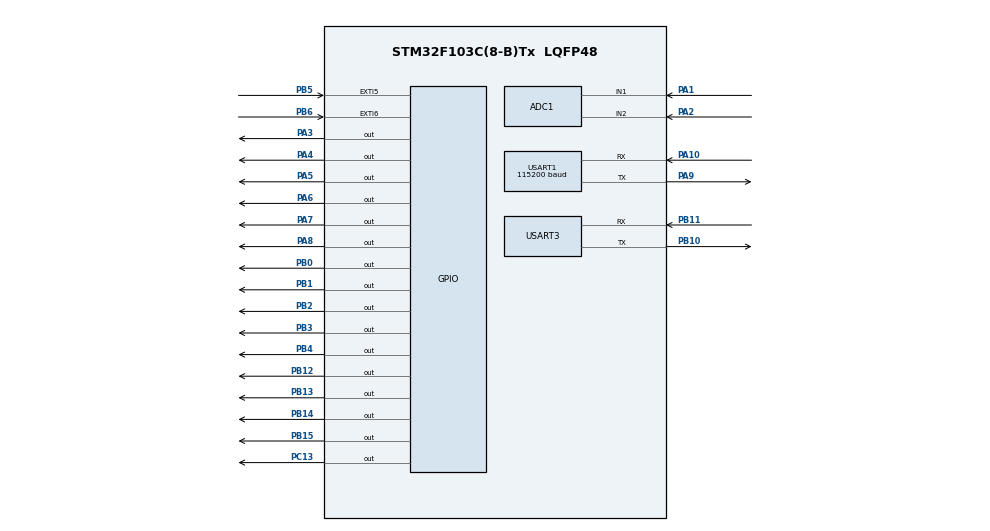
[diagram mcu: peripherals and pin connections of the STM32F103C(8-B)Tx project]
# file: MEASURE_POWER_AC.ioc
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ADC1.Channel-0\#ChannelRegularConversion=ADC_CHANNEL_1
ADC1.Channel-1\#ChannelRegularConversion=ADC_CHANNEL_2
ADC1.ExternalTrigConv=ADC_EXTERNALTRIGCONV_T3_TRGO
ADC1.NbrOfConversion=2
ADC1.NbrOfConversionFlag=1
ADC1.Rank-0\#ChannelRegularConversion=1
ADC1.Rank-1\#ChannelRegularConversion=2
ADC1.SamplingTime-0\#ChannelRegularConversion=ADC_SAMPLETIME_239CYCLES_5
ADC1.SamplingTime-1\#ChannelRegularConversion=ADC_SAMPLETIME_239CYCLES_5
ADC1.master=1
Dma.ADC1.0.Direction=DMA_PERIPH_TO_MEMORY
Dma.ADC1.0.Instance=DMA1_Channel1
Dma.ADC1.0.MemDataAlignment=DMA_MDATAALIGN_HALFWORD
Dma.ADC1.0.MemInc=DMA_MINC_ENABLE
Dma.ADC1.0.Mode=DMA_CIRCULAR
Dma.ADC1.0.PeriphDataAlignment=DMA_PDATAALIGN_HALFWORD
Dma.ADC1.0.PeriphInc=DMA_PINC_DISABLE
Dma.ADC1.0.Priority=DMA_PRIORITY_LOW
Dma.Request0=ADC1
Mcu.Family=STM32F1
Mcu.Name=STM32F103C(8-B)Tx
Mcu.Package=LQFP48
NVIC.DMA1_Channel1_IRQn=true\:1\:0\:true\:false\:true\:false\:true\:true
NVIC.EXTI9_5_IRQn=true\:2\:0\:true\:false\:true\:true\:true\:true
NVIC.PriorityGroup=NVIC_PRIORITYGROUP_4
NVIC.USART1_IRQn=true\:3\:0\:true\:false\:true\:true\:true\:true
NVIC.USART3_IRQn=true\:4\:0\:true\:false\:true\:true\:true\:true
PA1.Signal=ADCx_IN1
PA10.Mode=Asynchronous
PA10.Signal=USART1_RX
PA13.Mode=Serial_Wire
PA13.Signal=SYS_JTMS-SWDIO
PA14.Mode=Serial_Wire
PA14.Signal=SYS_JTCK-SWCLK
PA2.Signal=ADCx_IN2
PA3.Signal=GPIO_Output
PA4.Signal=GPIO_Output
PA5.Signal=GPIO_Output
PA6.Signal=GPIO_Output
PA7.Signal=GPIO_Output
PA8.Signal=GPIO_Output
PA9.Mode=Asynchronous
PA9.Signal=USART1_TX
PB0.Signal=GPIO_Output
PB1.Signal=GPIO_Output
PB10.Mode=Asynchronous
PB10.Signal=USART3_TX
PB11.Mode=Asynchronous
PB11.Signal=USART3_RX
PB12.Signal=GPIO_Output
PB13.Signal=GPIO_Output
PB14.Signal=GPIO_Output
PB15.Signal=GPIO_Output
PB2.Signal=GPIO_Output
PB3.Signal=GPIO_Output
PB4.Signal=GPIO_Output
PB5.GPIO_ModeDefaultEXTI=GPIO_MODE_IT_RISING
PB5.GPIO_PuPd=GPIO_PULLUP
PB5.Signal=GPXTI5
PB6.GPIO_ModeDefaultEXTI=GPIO_MODE_IT_RISING
PB6.GPIO_PuPd=GPIO_PULLUP
PB6.Signal=GPXTI6
PC13-TAMPER-RTC.Signal=GPIO_Output
PD0-OSC_IN.Mode=HSE-External-Oscillator
PD0-OSC_IN.Signal=RCC_OSC_IN
PD1-OSC_OUT.Mode=HSE-External-Oscillator
PD1-OSC_OUT.Signal=RCC_OSC_OUT
ProjectManager.HeapSize=0x200
ProjectManager.StackSize=0x400
ProjectManager.TargetToolchain=STM32CubeIDE
RCC.ADCPresc=RCC_ADCPCLK2_DIV4
RCC.AHBFreq_Value=56000000
RCC.APB1CLKDivider=RCC_HCLK_DIV2
RCC.APB1Freq_Value=28000000
RCC.APB1TimFreq_Value=56000000
RCC.APB2Freq_Value=56000000
RCC.APB2TimFreq_Value=56000000
RCC.HCLKFreq_Value=56000000
RCC.PLLMUL=RCC_PLL_MUL7
RCC.PLLSourceVirtual=RCC_PLLSOURCE_HSE
RCC.SYSCLKFreq_VALUE=56000000
RCC.SYSCLKSource=RCC_SYSCLKSOURCE_PLLCLK
RCC.USBFreq_Value=56000000
SH.ADCx_IN1.0=ADC1_IN1,IN1
SH.ADCx_IN2.0=ADC1_IN2,IN2
TIM2.Prescaler=8
TIM3.Period=19
TIM3.Prescaler=55999
TIM3.TIM_MasterOutputTrigger=TIM_TRGO_UPDATE
USART1.BaudRate=115200
USART1.VirtualMode=VM_ASYNC
USART3.VirtualMode=VM_ASYNC
VP_TIM2_VS_ClockSourceINT.Mode=Internal
VP_TIM3_VS_ClockSourceINT.Mode=Internal
board=custom

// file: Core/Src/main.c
/* USER CODE BEGIN Header */
/**
  ******************************************************************************
  * @file           : main.c
  * @brief          : Main program body
  ******************************************************************************
  * @attention
  *
  * Copyright (c) 2024 STMicroelectronics.
  * All rights reserved.
  *
  * This software is licensed under terms that can be found in the LICENSE file
  * in the root directory of this software component.
  * If no LICENSE file comes with this software, it is provided AS-IS.
  *
  ******************************************************************************
  */
/* USER CODE END Header */
#include "main.h"

/* USER CODE BEGIN Includes */

#include "adc.h"
#include "app_data.h"
#include "scheduler.h"
#include "app_command.h"
#include "app_led_7seg.h"
#include "app_read_data.h"
#include "app_status_led.h"
#include "app_calculator_PF.h"
#include "app_data_trans_rec.h"

/* USER CODE END Includes */

UART_HandleTypeDef huart1;

void SystemClock_Config(void);
static void MX_GPIO_Init(void);
static void MX_DMA_Init(void);
static void MX_ADC1_Init(void);
static void MX_USART1_UART_Init(void);
static void MX_USART3_UART_Init(void);
static void MX_TIM2_Init(void);
static void MX_TIM3_Init(void);

int main(void)
{

  /* MCU Configuration--------------------------------------------------------*/

  /* Reset of all peripherals, Initializes the Flash interface and the Systick. */
  HAL_Init();

  /* Configure the system clock */
  SystemClock_Config();

  /* Initialize all configured peripherals */
  MX_GPIO_Init();
  MX_DMA_Init();
  MX_ADC1_Init();
  MX_USART1_UART_Init();
  MX_USART3_UART_Init();
  MX_TIM2_Init();
  MX_TIM3_Init();
  /* USER CODE BEGIN 2 */

  // Application Initialize
  APP_READ_DATA_Init();
  APP_CALCULATOR_PF_Init();
  APP_DATA_TRANS_REC_Init();
  APP_COMMAND_Init();
  APP_STATUS_LED_Init();
  APP_LED_7_SEG_Init();

  // Initialize Scheduler
  SCH_Initialize();

  // Create Timer
  APP_STATUS_LED_CreateTimer();

  // Application Create Task
  APP_READ_DATA_CreateTask();
  APP_CALCULATOR_PF_CreateTask();
  APP_DATA_TRANS_REC_CreateTask();
  APP_COMMAND_CreateTask();
  APP_STATUS_LED_CreateTask();
//  APP_LED_7_SEG_CreateTask();

  // Start Scheduler
  SCH_StartScheduler();

  // Start ADC - TIM3
  BSP_ADC_Start_Calibration(ADC1);
  BSP_ADC_Start_DMA(ADC1, (uint16_t *)s_data_system.u16_adc_value, 2);
  TIM3->CR1 |= TIM_CR1_CEN;

  /* USER CODE END 2 */

  /* Infinite loop */
  while (1)
  {

    /* USER CODE BEGIN 3 */
	  SCH_HandleScheduledTask();
  }
  /* USER CODE END 3 */
}

void SystemClock_Config(void)
{
  LL_FLASH_SetLatency(LL_FLASH_LATENCY_2);
  while(LL_FLASH_GetLatency()!= LL_FLASH_LATENCY_2)
  {
  }
  LL_RCC_HSE_Enable();

   /* Wait till HSE is ready */
  while(LL_RCC_HSE_IsReady() != 1)
  {

  }
  LL_RCC_PLL_ConfigDomain_SYS(LL_RCC_PLLSOURCE_HSE_DIV_1, LL_RCC_PLL_MUL_7);
  LL_RCC_PLL_Enable();

   /* Wait till PLL is ready */
  while(LL_RCC_PLL_IsReady() != 1)
  {

  }
  LL_RCC_SetAHBPrescaler(LL_RCC_SYSCLK_DIV_1);
  LL_RCC_SetAPB1Prescaler(LL_RCC_APB1_DIV_2);
  LL_RCC_SetAPB2Prescaler(LL_RCC_APB2_DIV_1);
  LL_RCC_SetSysClkSource(LL_RCC_SYS_CLKSOURCE_PLL);

   /* Wait till System clock is ready */
  while(LL_RCC_GetSysClkSource() != LL_RCC_SYS_CLKSOURCE_STATUS_PLL)
  {

  }
  LL_SetSystemCoreClock(56000000);

   /* Update the time base */
  if (HAL_InitTick (TICK_INT_PRIORITY) != HAL_OK)
  {
    Error_Handler();
  }
  LL_RCC_SetADCClockSource(LL_RCC_ADC_CLKSRC_PCLK2_DIV_4);
}

static void MX_ADC1_Init(void)
{

  LL_ADC_InitTypeDef ADC_InitStruct = {0};
  LL_ADC_CommonInitTypeDef ADC_CommonInitStruct = {0};
  LL_ADC_REG_InitTypeDef ADC_REG_InitStruct = {0};

  LL_GPIO_InitTypeDef GPIO_InitStruct = {0};

  /* Peripheral clock enable */
  LL_APB2_GRP1_EnableClock(LL_APB2_GRP1_PERIPH_ADC1);

  LL_APB2_GRP1_EnableClock(LL_APB2_GRP1_PERIPH_GPIOA);
  /**ADC1 GPIO Configuration
  PA1   ------> ADC1_IN1
  PA2   ------> ADC1_IN2
  */
  GPIO_InitStruct.Pin = LL_GPIO_PIN_1|LL_GPIO_PIN_2;
  GPIO_InitStruct.Mode = LL_GPIO_MODE_ANALOG;
  LL_GPIO_Init(GPIOA, &GPIO_InitStruct);

  /* ADC1 DMA Init */

  /* ADC1 Init */
  LL_DMA_SetDataTransferDirection(DMA1, LL_DMA_CHANNEL_1, LL_DMA_DIRECTION_PERIPH_TO_MEMORY);

  LL_DMA_SetChannelPriorityLevel(DMA1, LL_DMA_CHANNEL_1, LL_DMA_PRIORITY_LOW);

  LL_DMA_SetMode(DMA1, LL_DMA_CHANNEL_1, LL_DMA_MODE_CIRCULAR);

  LL_DMA_SetPeriphIncMode(DMA1, LL_DMA_CHANNEL_1, LL_DMA_PERIPH_NOINCREMENT);

  LL_DMA_SetMemoryIncMode(DMA1, LL_DMA_CHANNEL_1, LL_DMA_MEMORY_INCREMENT);

  LL_DMA_SetPeriphSize(DMA1, LL_DMA_CHANNEL_1, LL_DMA_PDATAALIGN_HALFWORD);

  LL_DMA_SetMemorySize(DMA1, LL_DMA_CHANNEL_1, LL_DMA_MDATAALIGN_HALFWORD);

  /** Common config
  */
  ADC_InitStruct.DataAlignment = LL_ADC_DATA_ALIGN_RIGHT;
  ADC_InitStruct.SequencersScanMode = LL_ADC_SEQ_SCAN_ENABLE;
  LL_ADC_Init(ADC1, &ADC_InitStruct);
  ADC_CommonInitStruct.Multimode = LL_ADC_MULTI_INDEPENDENT;
  LL_ADC_CommonInit(__LL_ADC_COMMON_INSTANCE(ADC1), &ADC_CommonInitStruct);
  ADC_REG_InitStruct.TriggerSource = LL_ADC_REG_TRIG_EXT_TIM3_TRGO;
  ADC_REG_InitStruct.SequencerLength = LL_ADC_REG_SEQ_SCAN_ENABLE_2RANKS;
  ADC_REG_InitStruct.SequencerDiscont = LL_ADC_REG_SEQ_DISCONT_DISABLE;
  ADC_REG_InitStruct.ContinuousMode = LL_ADC_REG_CONV_SINGLE;
  ADC_REG_InitStruct.DMATransfer = LL_ADC_REG_DMA_TRANSFER_UNLIMITED;
  LL_ADC_REG_Init(ADC1, &ADC_REG_InitStruct);

  /** Configure Regular Channel
  */
  LL_ADC_REG_SetSequencerRanks(ADC1, LL_ADC_REG_RANK_1, LL_ADC_CHANNEL_1);
  LL_ADC_SetChannelSamplingTime(ADC1, LL_ADC_CHANNEL_1, LL_ADC_SAMPLINGTIME_239CYCLES_5);

  /** Configure Regular Channel
  */
  LL_ADC_REG_SetSequencerRanks(ADC1, LL_ADC_REG_RANK_2, LL_ADC_CHANNEL_2);
  LL_ADC_SetChannelSamplingTime(ADC1, LL_ADC_CHANNEL_2, LL_ADC_SAMPLINGTIME_239CYCLES_5);

}

static void MX_TIM2_Init(void)
{

  LL_TIM_InitTypeDef TIM_InitStruct = {0};

  /* Peripheral clock enable */
  LL_APB1_GRP1_EnableClock(LL_APB1_GRP1_PERIPH_TIM2);

  TIM_InitStruct.Prescaler = 8;
  TIM_InitStruct.CounterMode = LL_TIM_COUNTERMODE_UP;
  TIM_InitStruct.Autoreload = 65535;
  TIM_InitStruct.ClockDivision = LL_TIM_CLOCKDIVISION_DIV1;
  LL_TIM_Init(TIM2, &TIM_InitStruct);
  LL_TIM_DisableARRPreload(TIM2);
  LL_TIM_SetClockSource(TIM2, LL_TIM_CLOCKSOURCE_INTERNAL);
  LL_TIM_SetTriggerOutput(TIM2, LL_TIM_TRGO_RESET);
  LL_TIM_DisableMasterSlaveMode(TIM2);

}

static void MX_TIM3_Init(void)
{

  LL_TIM_InitTypeDef TIM_InitStruct = {0};

  /* Peripheral clock enable */
  LL_APB1_GRP1_EnableClock(LL_APB1_GRP1_PERIPH_TIM3);

  TIM_InitStruct.Prescaler = 55999;
  TIM_InitStruct.CounterMode = LL_TIM_COUNTERMODE_UP;
  TIM_InitStruct.Autoreload = 19;
  TIM_InitStruct.ClockDivision = LL_TIM_CLOCKDIVISION_DIV1;
  LL_TIM_Init(TIM3, &TIM_InitStruct);
  LL_TIM_DisableARRPreload(TIM3);
  LL_TIM_SetClockSource(TIM3, LL_TIM_CLOCKSOURCE_INTERNAL);
  LL_TIM_SetTriggerOutput(TIM3, LL_TIM_TRGO_UPDATE);
  LL_TIM_DisableMasterSlaveMode(TIM3);

}

static void MX_USART1_UART_Init(void)
{

  huart1.Instance = USART1;
  huart1.Init.BaudRate = 115200;
  huart1.Init.WordLength = UART_WORDLENGTH_8B;
  huart1.Init.StopBits = UART_STOPBITS_1;
  huart1.Init.Parity = UART_PARITY_NONE;
  huart1.Init.Mode = UART_MODE_TX_RX;
  huart1.Init.HwFlowCtl = UART_HWCONTROL_NONE;
  huart1.Init.OverSampling = UART_OVERSAMPLING_16;
  if (HAL_UART_Init(&huart1) != HAL_OK)
  {
    Error_Handler();
  }

}

static void MX_USART3_UART_Init(void)
{

  LL_USART_InitTypeDef USART_InitStruct = {0};

  LL_GPIO_InitTypeDef GPIO_InitStruct = {0};

  /* Peripheral clock enable */
  LL_APB1_GRP1_EnableClock(LL_APB1_GRP1_PERIPH_USART3);

  LL_APB2_GRP1_EnableClock(LL_APB2_GRP1_PERIPH_GPIOB);
  /**USART3 GPIO Configuration
  PB10   ------> USART3_TX
  PB11   ------> USART3_RX
  */
  GPIO_InitStruct.Pin = LL_GPIO_PIN_10;
  GPIO_InitStruct.Mode = LL_GPIO_MODE_ALTERNATE;
  GPIO_InitStruct.Speed = LL_GPIO_SPEED_FREQ_HIGH;
  GPIO_InitStruct.OutputType = LL_GPIO_OUTPUT_PUSHPULL;
  LL_GPIO_Init(GPIOB, &GPIO_InitStruct);

  GPIO_InitStruct.Pin = LL_GPIO_PIN_11;
  GPIO_InitStruct.Mode = LL_GPIO_MODE_FLOATING;
  LL_GPIO_Init(GPIOB, &GPIO_InitStruct);

  /* USART3 interrupt Init */
  NVIC_SetPriority(USART3_IRQn, NVIC_EncodePriority(NVIC_GetPriorityGrouping(),4, 0));
  NVIC_EnableIRQ(USART3_IRQn);

  USART_InitStruct.BaudRate = 115200;
  USART_InitStruct.DataWidth = LL_USART_DATAWIDTH_8B;
  USART_InitStruct.StopBits = LL_USART_STOPBITS_1;
  USART_InitStruct.Parity = LL_USART_PARITY_NONE;
  USART_InitStruct.TransferDirection = LL_USART_DIRECTION_TX_RX;
  USART_InitStruct.HardwareFlowControl = LL_USART_HWCONTROL_NONE;
  USART_InitStruct.OverSampling = LL_USART_OVERSAMPLING_16;
  LL_USART_Init(USART3, &USART_InitStruct);
  LL_USART_ConfigAsyncMode(USART3);
  LL_USART_Enable(USART3);

}

static void MX_DMA_Init(void)
{

  /* Init with LL driver */
  /* DMA controller clock enable */
  LL_AHB1_GRP1_EnableClock(LL_AHB1_GRP1_PERIPH_DMA1);

  /* DMA interrupt init */
  /* DMA1_Channel1_IRQn interrupt configuration */
  NVIC_SetPriority(DMA1_Channel1_IRQn, NVIC_EncodePriority(NVIC_GetPriorityGrouping(),1, 0));
  NVIC_EnableIRQ(DMA1_Channel1_IRQn);

}

static void MX_GPIO_Init(void)
{
  LL_EXTI_InitTypeDef EXTI_InitStruct = {0};
  LL_GPIO_InitTypeDef GPIO_InitStruct = {0};

  /* GPIO Ports Clock Enable */
  LL_APB2_GRP1_EnableClock(LL_APB2_GRP1_PERIPH_GPIOC);
  LL_APB2_GRP1_EnableClock(LL_APB2_GRP1_PERIPH_GPIOD);
  LL_APB2_GRP1_EnableClock(LL_APB2_GRP1_PERIPH_GPIOA);
  LL_APB2_GRP1_EnableClock(LL_APB2_GRP1_PERIPH_GPIOB);

  /**/
  LL_GPIO_ResetOutputPin(GPIOC, LL_GPIO_PIN_13);

  /**/
  LL_GPIO_ResetOutputPin(GPIOA, LL_GPIO_PIN_3|LL_GPIO_PIN_4|LL_GPIO_PIN_5|LL_GPIO_PIN_6
                          |LL_GPIO_PIN_7|LL_GPIO_PIN_8);

  /**/
  LL_GPIO_ResetOutputPin(GPIOB, LL_GPIO_PIN_0|LL_GPIO_PIN_1|LL_GPIO_PIN_2|LL_GPIO_PIN_12
                          |LL_GPIO_PIN_13|LL_GPIO_PIN_14|LL_GPIO_PIN_15|LL_GPIO_PIN_3
                          |LL_GPIO_PIN_4);

  /**/
  GPIO_InitStruct.Pin = LL_GPIO_PIN_13;
  GPIO_InitStruct.Mode = LL_GPIO_MODE_OUTPUT;
  GPIO_InitStruct.Speed = LL_GPIO_SPEED_FREQ_LOW;
  GPIO_InitStruct.OutputType = LL_GPIO_OUTPUT_PUSHPULL;
  LL_GPIO_Init(GPIOC, &GPIO_InitStruct);

  /**/
  GPIO_InitStruct.Pin = LL_GPIO_PIN_3|LL_GPIO_PIN_4|LL_GPIO_PIN_5|LL_GPIO_PIN_6
                          |LL_GPIO_PIN_7|LL_GPIO_PIN_8;
  GPIO_InitStruct.Mode = LL_GPIO_MODE_OUTPUT;
  GPIO_InitStruct.Speed = LL_GPIO_SPEED_FREQ_LOW;
  GPIO_InitStruct.OutputType = LL_GPIO_OUTPUT_PUSHPULL;
  LL_GPIO_Init(GPIOA, &GPIO_InitStruct);

  /**/
  GPIO_InitStruct.Pin = LL_GPIO_PIN_0|LL_GPIO_PIN_1|LL_GPIO_PIN_2|LL_GPIO_PIN_12
                          |LL_GPIO_PIN_13|LL_GPIO_PIN_14|LL_GPIO_PIN_15|LL_GPIO_PIN_3
                          |LL_GPIO_PIN_4;
  GPIO_InitStruct.Mode = LL_GPIO_MODE_OUTPUT;
  GPIO_InitStruct.Speed = LL_GPIO_SPEED_FREQ_LOW;
  GPIO_InitStruct.OutputType = LL_GPIO_OUTPUT_PUSHPULL;
  LL_GPIO_Init(GPIOB, &GPIO_InitStruct);

  /**/
  LL_GPIO_AF_SetEXTISource(LL_GPIO_AF_EXTI_PORTB, LL_GPIO_AF_EXTI_LINE5);

  /**/
  LL_GPIO_AF_SetEXTISource(LL_GPIO_AF_EXTI_PORTB, LL_GPIO_AF_EXTI_LINE6);

  /**/
  EXTI_InitStruct.Line_0_31 = LL_EXTI_LINE_5;
  EXTI_InitStruct.LineCommand = ENABLE;
  EXTI_InitStruct.Mode = LL_EXTI_MODE_IT;
  EXTI_InitStruct.Trigger = LL_EXTI_TRIGGER_RISING;
  LL_EXTI_Init(&EXTI_InitStruct);

  /**/
  EXTI_InitStruct.Line_0_31 = LL_EXTI_LINE_6;
  EXTI_InitStruct.LineCommand = ENABLE;
  EXTI_InitStruct.Mode = LL_EXTI_MODE_IT;
  EXTI_InitStruct.Trigger = LL_EXTI_TRIGGER_RISING;
  LL_EXTI_Init(&EXTI_InitStruct);

  /**/
  LL_GPIO_SetPinPull(GPIOB, LL_GPIO_PIN_5, LL_GPIO_PULL_UP);

  /**/
  LL_GPIO_SetPinPull(GPIOB, LL_GPIO_PIN_6, LL_GPIO_PULL_UP);

  /**/
  LL_GPIO_SetPinMode(GPIOB, LL_GPIO_PIN_5, LL_GPIO_MODE_INPUT);

  /**/
  LL_GPIO_SetPinMode(GPIOB, LL_GPIO_PIN_6, LL_GPIO_MODE_INPUT);

  /* EXTI interrupt init*/
  NVIC_SetPriority(EXTI9_5_IRQn, NVIC_EncodePriority(NVIC_GetPriorityGrouping(),2, 0));
  NVIC_EnableIRQ(EXTI9_5_IRQn);

}

void Error_Handler(void)
{
  __disable_irq();
  while (1)
  {
  }
}
